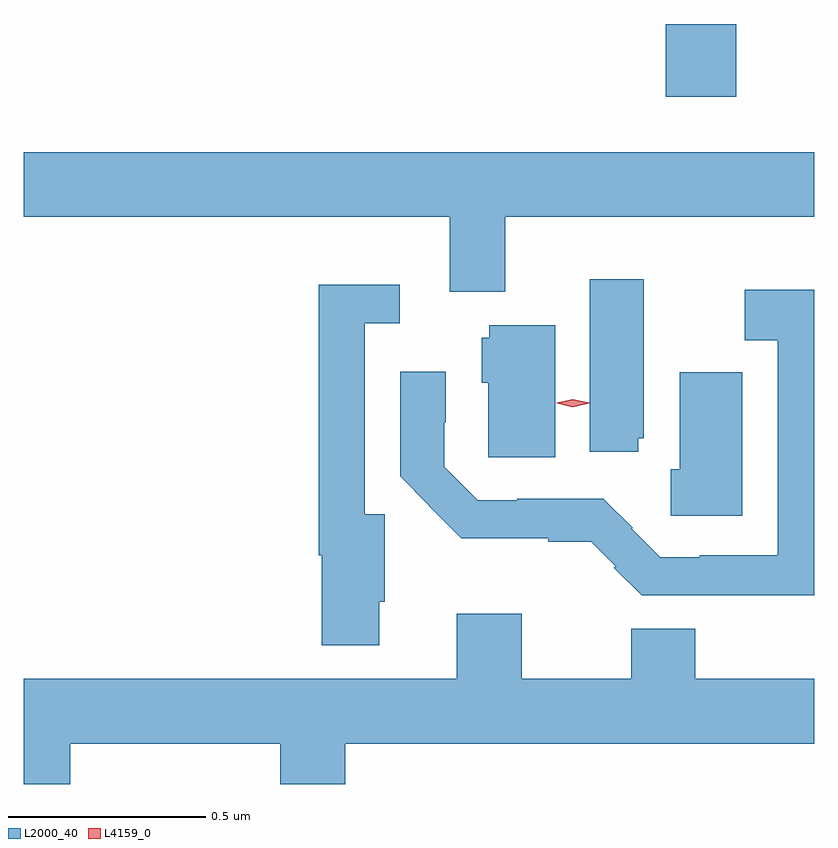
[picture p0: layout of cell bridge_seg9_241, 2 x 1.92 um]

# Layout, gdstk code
import gdstk
lib = gdstk.Library(unit=1e-6, precision=1e-09)
def R(c, l, rs):  # rectangles x0, y0, x1, y1
    for r in rs: c.add(gdstk.rectangle(r[:2], r[2:], *l))
def P(c, l, *ps):  # polygons
    for p in ps: c.add(gdstk.Polygon(p, *l))
L2000_40 = (2000, 40)
L4159_0 = (4159, 0)

bridge_seg9_241 = lib.new_cell('bridge_seg9_241')
R(bridge_seg9_241, L2000_40, [(365.576,1168.752,365.754,1168.936)])
P(bridge_seg9_241, L2000_40, [(365.17,1168.448),(365.952,1168.448),(365.952,1168.612),(363.952,1168.612),(363.952,1168.448),(365.03,1168.448),(365.03,1168.259),(365.17,1168.259)],
  [(365.506,1167.888),(365.521,1167.888),(365.521,1168.291),(365.384,1168.291),(365.384,1167.854),(365.506,1167.854)],
  [(364.852,1167.475),(364.865,1167.475),(364.865,1167.696),(364.815,1167.696),(364.815,1168.179),(364.903,1168.179),(364.903,1168.276),(364.699,1168.276),(364.699,1167.593),(364.706,1167.593),(364.706,1167.365),(364.852,1167.365)],
  [(365.952,1168.264),(365.776,1168.264),(365.776,1168.136),(365.859,1168.136),(365.859,1167.592),(365.662,1167.592),(365.662,1167.588),(365.562,1167.588),(365.49,1167.66),(365.492,1167.662),(365.418,1167.736),(365.2,1167.736),(365.2,1167.732),(365.1,1167.732),(365.016,1167.816),(365.016,1167.929),(365.02,1167.929),(365.02,1168.057),(364.904,1168.057),(364.904,1167.792),(364.978,1167.718),(364.978,1167.717),(365.059,1167.635),(365.279,1167.635),(365.279,1167.627),(365.387,1167.627),(365.449,1167.565),(365.445,1167.561),(365.515,1167.491),(365.952,1167.491)],
  [(365.296,1168.174),(365.13,1168.174),(365.13,1168.143),(365.111,1168.143),(365.111,1168.029),(365.127,1168.029),(365.127,1167.84),(365.296,1167.84)],
  [(365.77,1168.055),(365.612,1168.055),(365.612,1167.81),(365.589,1167.81),(365.589,1167.693),(365.77,1167.693)],
  [(364.07,1167.116),(364.601,1167.116),(364.601,1167.014),(364.766,1167.014),(364.766,1167.116),(365.952,1167.116),(365.952,1167.28),(365.65,1167.28),(365.65,1167.406),(365.489,1167.406),(365.489,1167.28),(365.212,1167.28),(365.212,1167.445),(365.048,1167.445),(365.048,1167.28),(363.952,1167.28),(363.952,1167.014),(364.07,1167.014)])
P(bridge_seg9_241, L4159_0, [(365.341,1167.967),(365.3,1167.977),(365.3,1167.977),(365.3,1167.978),(365.341,1167.987),(365.382,1167.978),(365.382,1167.977),(365.382,1167.977)])

lib.write_gds('bridge_seg9_241.gds')
